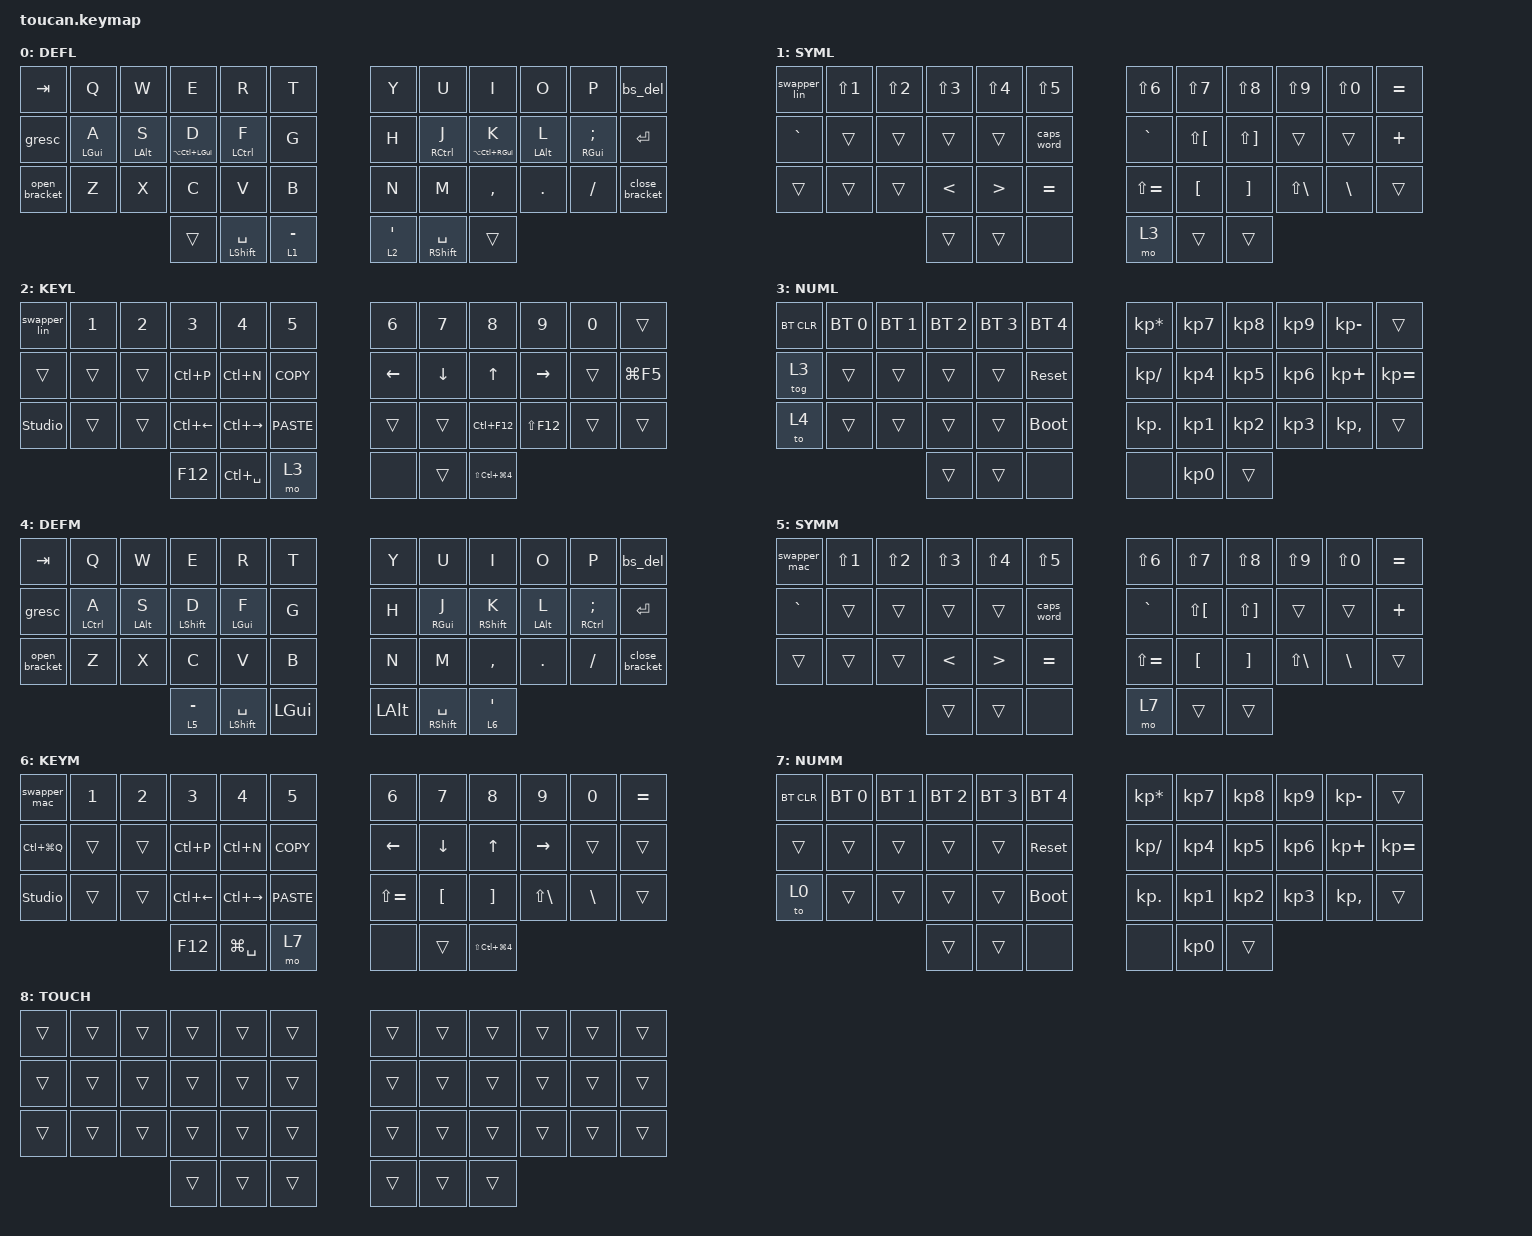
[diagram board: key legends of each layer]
#include <behaviors/num_word.dtsi>
#include <behaviors.dtsi>
#include <dt-bindings/zmk/bt.h>
#include <dt-bindings/zmk/keys.h>

/ {
    behaviors {
        hml: hml {
            compatible = "zmk,behavior-hold-tap";
            #binding-cells = <2>;
            bindings = <&kp>, <&kp>;

            flavor = "balanced";
            tapping-term-ms = <280>;
            quick-tap-ms = <175>;
            require-prior-idle-ms = <150>;
            hold-trigger-on-release;
            hold-trigger-key-positions = <6 7 8 9 10 11 18 19 20 21 22 23 30 31 32 33 34 35 36 37 38 39 40 41>;
            label = "Home Rows Mods Left";
        };

        hmr: hmr {
            compatible = "zmk,behavior-hold-tap";
            #binding-cells = <2>;
            bindings = <&kp>, <&kp>;

            flavor = "balanced";
            tapping-term-ms = <280>;
            quick-tap-ms = <175>;
            require-prior-idle-ms = <150>;
            hold-trigger-on-release;
            hold-trigger-key-positions = <0 1 2 3 4 5 12 13 14 15 16 17 24 25 26 27 28 29 36 37 38 39 40 41>;
            label = "Home Row Mods Right";
        };

        tcl: tcl {
            compatible = "zmk,behavior-hold-tap";
            #binding-cells = <2>;
            bindings = <&kp>, <&kp>;

            flavor = "balanced";
            tapping-term-ms = <280>;
            quick-tap-ms = <175>;
            require-prior-idle-ms = <150>;
            hold-trigger-on-release;
            hold-trigger-key-positions = <6 7 8 9 10 11 18 19 20 21 22 23 30 31 32 33 34 35 36 37 38 39 40 41>;
            label = "Thumb Cluster Left";
        };

        tcr: tcr {
            compatible = "zmk,behavior-hold-tap";
            #binding-cells = <2>;
            bindings = <&kp>, <&kp>;

            flavor = "balanced";
            tapping-term-ms = <280>;
            quick-tap-ms = <175>;
            require-prior-idle-ms = <150>;
            hold-trigger-on-release;
            hold-trigger-key-positions = <0 1 2 3 4 5 12 13 14 15 16 17 24 25 26 27 28 29 36 37 38 39 40 41>;
            label = "Thumb Cluster Right";
        };

        smart_num: smart_num {
            compatible = "zmk,behavior-hold-tap";
            #binding-cells = <2>;
            bindings = <&mo>, <&num_dance>;

            flavor = "balanced";
            tapping-term-ms = <200>;
            quick-tap-ms = <175>;
        };

        num_dance: num_dance {
            compatible = "zmk,behavior-tap-dance";
            #binding-cells = <0>;
            bindings = <&num_word 3>, <&sl 3>;

            tapping-term-ms = <200>;
        };

        swapper_mac: swapper_mac {
            compatible = "zmk,behavior-tri-state";
            #binding-cells = <0>;
            bindings = <&kt LGUI>, <&kp TAB>, <&kt GUI>;

            ignored-key-positions = <3 8 19 20 21>;
            label = "Window Swapper Mac";
        };

        bs_del: bs_del {
            compatible = "zmk,behavior-mod-morph";
            #binding-cells = <0>;
            bindings = <&kp BSPC>, <&kp DEL>;

            mods = <(MOD_LSFT|MOD_RSFT)>;
            keep-mods = <MOD_RSFT>;
        };

        open_bracket: open_bracket {
            compatible = "zmk,behavior-mod-morph";
            #binding-cells = <0>;
            bindings = <&kp LBKT>, <&kp LBKT>;

            mods = <(MOD_LSFT|MOD_RSFT)>;
        };

        close_bracket: close_bracket {
            compatible = "zmk,behavior-mod-morph";
            #binding-cells = <0>;
            bindings = <&kp RBKT>, <&kp RBKT>;

            mods = <(MOD_LSFT|MOD_RSFT)>;
        };

        swapper_lin: swapper_lin {
            compatible = "zmk,behavior-tri-state";
            #binding-cells = <0>;
            bindings = <&kt LALT>, <&kp TAB>, <&kt LALT>;

            ignored-key-positions = <3 8 19 20 21>;
            label = "Window Swap Linux";
        };
    };

    combos {
        compatible = "zmk,combos";

        toggle_numpad {
            bindings = <&tog 3>;
            key-positions = <2 3>;
            layers = <0>;
        };
    };

    keymap {
        compatible = "zmk,keymap";

        base_lin {
            display-name = "DEFL";
            bindings = <
&kp TAB        &kp Q        &kp W        &kp E                &kp R             &kp T        &kp Y  &kp U         &kp I                &kp O        &kp P           &bs_del
&gresc         &hml LGUI A  &hml LALT S  &hml LA(LC(LGUI)) D  &hml LCTRL F      &kp G        &kp H  &hmr RCTRL J  &hmr LA(LC(RGUI)) K  &hmr LALT L  &hmr RGUI SEMI  &kp ENTER
&open_bracket  &kp Z        &kp X        &kp C                &kp V             &kp B        &kp N  &kp M         &kp COMMA            &kp DOT      &kp SLASH       &close_bracket
                                         &trans               &tcl LSHIFT SPACE  &lt 1 MINUS         &lt 2 SQT     &tcr RSHFT SPACE      &trans
            >;
        };

        sym_lin {
            display-name = "SYML";
            bindings = <
&swapper_lin  &kp LS(N1)  &kp LS(N2)  &kp LS(N3)  &kp LS(N4)  &kp LS(N5)  &kp LS(N6)     &kp LS(N7)    &kp LS(N8)    &kp LS(N9)    &kp LS(N0)  &kp EQUAL
&kp GRAVE     &trans      &trans      &trans      &trans      &caps_word  &kp GRAVE      &kp LS(LBKT)  &kp LS(RBKT)  &trans        &trans      &kp PLUS
&trans        &trans      &trans      &kp LT      &kp GT      &kp EQUAL   &kp LS(EQUAL)  &kp LBKT      &kp RBKT      &kp LS(BSLH)  &kp BSLH    &trans
                                      &trans      &trans      &none                      &mo 3         &trans        &trans
            >;
        };

        short_lin {
            display-name = "KEYL";
            bindings = <
&swapper_lin    &kp N1  &kp N2  &kp N3        &kp N4         &kp N5       &kp N6    &kp N7    &kp N8       &kp N9              &kp N0  &trans
&trans          &trans  &trans  &kp LC(P)     &kp LC(N)      &kp K_COPY   &kp LEFT  &kp DOWN  &kp UP       &kp RIGHT           &trans  &kp LG(F5)
&studio_unlock  &trans  &trans  &kp LC(LEFT)  &kp LC(RIGHT)  &kp K_PASTE  &trans    &trans    &kp LC(F12)  &kp LS(F12)         &trans  &trans
                                &kp F12       &kp LC(SPACE)  &mo 3                  &none     &trans       &kp LS(LC(LG(N4)))
            >;
        };

        num_bt_lin {
            display-name = "NUML";
            bindings = <
&bt BT_CLR  &bt BT_SEL 0  &bt BT_SEL 1  &bt BT_SEL 2  &bt BT_SEL 3  &bt BT_SEL 4  &kp KP_MULTIPLY  &kp KP_N7  &kp KP_N8  &kp KP_N9  &kp KP_MINUS  &trans
&tog 3      &trans        &trans        &trans        &trans        &sys_reset    &kp KP_DIVIDE    &kp KP_N4  &kp KP_N5  &kp KP_N6  &kp KP_PLUS   &kp KP_EQUAL
&to 4       &trans        &trans        &trans        &trans        &bootloader   &kp KP_DOT       &kp KP_N1  &kp KP_N2  &kp KP_N3  &kp KP_COMMA  &trans
                                        &trans        &trans        &none                          &none      &kp KP_N0  &trans
            >;
        };

        base_mac {
            display-name = "DEFM";
            bindings = <
&kp TAB        &kp Q         &kp W        &kp E         &kp R             &kp T        &kp Y  &kp U        &kp I            &kp O        &kp P            &bs_del
&gresc         &hml LCTRL A  &hml LALT S  &hml LSHFT D  &hml LGUI F       &kp G        &kp H  &hmr RGUI J  &hmr RSHFT K     &hmr LALT L  &hmr RCTRL SEMI  &kp ENTER
&open_bracket  &kp Z         &kp X        &kp C         &kp V             &kp B        &kp N  &kp M        &kp COMMA        &kp DOT      &kp SLASH        &close_bracket
                                          &lt 5 MINUS   &tcl LSHIFT SPACE &kp LGUI     &kp LALT   &tcr RSHFT SPACE  &lt 6 SQT
            >;
        };

        sym_mac {
            display-name = "SYMM";
            bindings = <
&swapper_mac  &kp LS(N1)  &kp LS(N2)  &kp LS(N3)  &kp LS(N4)  &kp LS(N5)  &kp LS(N6)     &kp LS(N7)    &kp LS(N8)    &kp LS(N9)    &kp LS(N0)  &kp EQUAL
&kp GRAVE     &trans      &trans      &trans      &trans      &caps_word  &kp GRAVE      &kp LS(LBKT)  &kp LS(RBKT)  &trans        &trans      &kp PLUS
&trans        &trans      &trans      &kp LT      &kp GT      &kp EQUAL   &kp LS(EQUAL)  &kp LBKT      &kp RBKT      &kp LS(BSLH)  &kp BSLH    &trans
                                      &trans      &trans      &none                      &mo 7         &trans        &trans
            >;
        };

        short_mac {
            display-name = "KEYM";
            bindings = <
&swapper_mac    &kp N1  &kp N2  &kp N3        &kp N4         &kp N5       &kp N6         &kp N7    &kp N8    &kp N9              &kp N0    &kp EQUAL
&kp LC(LG(Q))   &trans  &trans  &kp LC(P)     &kp LC(N)      &kp K_COPY   &kp LEFT       &kp DOWN  &kp UP    &kp RIGHT           &trans    &trans
&studio_unlock  &trans  &trans  &kp LC(LEFT)  &kp LC(RIGHT)  &kp K_PASTE  &kp LS(EQUAL)  &kp LBKT  &kp RBKT  &kp LS(BSLH)        &kp BSLH  &trans
                                &kp F12       &kp LG(SPACE)  &mo 7                       &none     &trans    &kp LS(LC(LG(N4)))
            >;
        };

        num_bt_mac {
            display-name = "NUMM";
            bindings = <
&bt BT_CLR  &bt BT_SEL 0  &bt BT_SEL 1  &bt BT_SEL 2  &bt BT_SEL 3  &bt BT_SEL 4  &kp KP_MULTIPLY  &kp KP_N7  &kp KP_N8  &kp KP_N9  &kp KP_MINUS  &trans
&trans      &trans        &trans        &trans        &trans        &sys_reset    &kp KP_DIVIDE    &kp KP_N4  &kp KP_N5  &kp KP_N6  &kp KP_PLUS   &kp KP_EQUAL
&to 0       &trans        &trans        &trans        &trans        &bootloader   &kp KP_DOT       &kp KP_N1  &kp KP_N2  &kp KP_N3  &kp KP_COMMA  &trans
                                        &trans        &trans        &none                          &none      &kp KP_N0  &trans
            >;
        };

        trackpad_touch {
            display-name = "TOUCH";
            bindings = <
&trans  &trans  &trans  &trans  &trans  &trans  &trans  &trans  &trans  &trans  &trans  &trans
&trans  &trans  &trans  &trans  &trans  &trans  &trans  &trans  &trans  &trans  &trans  &trans
&trans  &trans  &trans  &trans  &trans  &trans  &trans  &trans  &trans  &trans  &trans  &trans
                        &trans  &trans  &trans          &trans  &trans  &trans
            >;
        };
    };
};

&lt {
    flavor = "balanced";
    tapping-term-ms = <200>;
    quick-tap-ms = <175>;
};

&gresc {
    mods = <(MOD_LGUI|MOD_LSFT|MOD_RGUI|MOD_RSFT)>;
    keep-mods = <(MOD_LGUI|MOD_LSFT|MOD_RGUI|MOD_RSFT)>;
};

&caps_word { /delete-property/ ignore-modifiers; };

// Shield default is &mo 4, which collides with base_mac (layer 4) as default layer and drops us back to layer 0 on touch-release; redirect to the inert trackpad_touch layer instead.
&is_touching_processor {
    bindings = <&mo 8>;
};

#if defined(CONFIG_SHIELD_TOUCAN_RIGHT)
// Shield default inverts scroll-y; remove it to flip vertical scroll to the opposite (natural) direction.
&tps43_trackpad {
    /delete-property/ invert-scroll-y;
};
#endif
